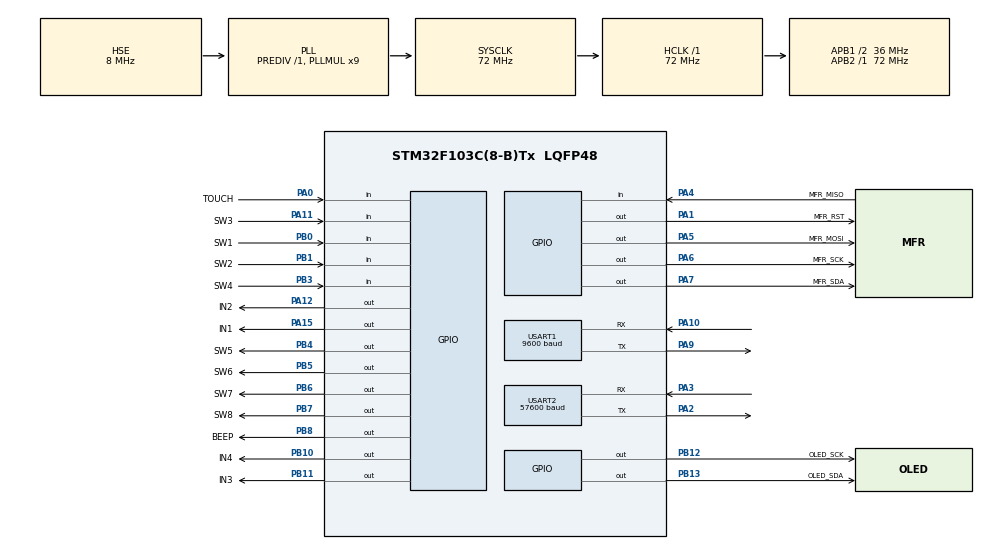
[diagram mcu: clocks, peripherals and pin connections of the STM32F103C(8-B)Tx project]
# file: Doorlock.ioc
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Mcu.Family=STM32F1
Mcu.Name=STM32F103C(8-B)Tx
Mcu.Package=LQFP48
NVIC.PriorityGroup=NVIC_PRIORITYGROUP_2
NVIC.TIM2_IRQn=true\:2\:2\:true\:false\:true\:true\:true\:true
NVIC.USART1_IRQn=true\:2\:2\:true\:false\:true\:true\:true\:true
NVIC.USART2_IRQn=true\:2\:2\:true\:false\:true\:true\:true\:true
PA0-WKUP.GPIO_Label=TOUCH
PA0-WKUP.GPIO_Mode=GPIO_MODE_INPUT
PA0-WKUP.GPIO_PuPd=GPIO_PULLDOWN
PA0-WKUP.Signal=GPIO_Input
PA1.GPIO_Label=MFR_RST
PA1.GPIO_ModeDefaultOutputPP=GPIO_MODE_OUTPUT_PP
PA1.GPIO_PuPd=GPIO_NOPULL
PA1.GPIO_Speed=GPIO_SPEED_FREQ_HIGH
PA1.PinState=GPIO_PIN_SET
PA1.Signal=GPIO_Output
PA10.Mode=Asynchronous
PA10.Signal=USART1_RX
PA11.GPIO_Label=SW3
PA11.GPIO_Mode=GPIO_MODE_INPUT
PA11.GPIO_PuPd=GPIO_PULLUP
PA11.Signal=GPIO_Input
PA12.GPIO_Label=IN2
PA12.GPIO_ModeDefaultOutputPP=GPIO_MODE_OUTPUT_PP
PA12.GPIO_PuPd=GPIO_PULLDOWN
PA12.GPIO_Speed=GPIO_SPEED_FREQ_HIGH
PA12.PinState=GPIO_PIN_RESET
PA12.Signal=GPIO_Output
PA13.Mode=Serial_Wire
PA13.Signal=SYS_JTMS-SWDIO
PA14.Mode=Serial_Wire
PA14.Signal=SYS_JTCK-SWCLK
PA15.GPIO_Label=IN1
PA15.GPIO_ModeDefaultOutputPP=GPIO_MODE_OUTPUT_PP
PA15.GPIO_PuPd=GPIO_PULLDOWN
PA15.GPIO_Speed=GPIO_SPEED_FREQ_HIGH
PA15.Signal=GPIO_Output
PA2.Mode=Asynchronous
PA2.Signal=USART2_TX
PA3.Mode=Asynchronous
PA3.Signal=USART2_RX
PA4.GPIO_Label=MFR_MISO
PA4.Signal=GPIO_Input
PA5.GPIO_Label=MFR_MOSI
PA5.GPIO_ModeDefaultOutputPP=GPIO_MODE_OUTPUT_PP
PA5.GPIO_Speed=GPIO_SPEED_FREQ_HIGH
PA5.PinState=GPIO_PIN_SET
PA5.Signal=GPIO_Output
PA6.GPIO_Label=MFR_SCK
PA6.GPIO_ModeDefaultOutputPP=GPIO_MODE_OUTPUT_PP
PA6.GPIO_Speed=GPIO_SPEED_FREQ_HIGH
PA6.PinState=GPIO_PIN_SET
PA6.Signal=GPIO_Output
PA7.GPIO_Label=MFR_SDA
PA7.GPIO_ModeDefaultOutputPP=GPIO_MODE_OUTPUT_PP
PA7.GPIO_Speed=GPIO_SPEED_FREQ_HIGH
PA7.PinState=GPIO_PIN_SET
PA7.Signal=GPIO_Output
PA9.Mode=Asynchronous
PA9.Signal=USART1_TX
PB0.GPIO_Label=SW1
PB0.GPIO_PuPd=GPIO_PULLUP
PB0.Signal=GPIO_Input
PB1.GPIO_Label=SW2
PB1.GPIO_PuPd=GPIO_PULLUP
PB1.Signal=GPIO_Input
PB10.GPIO_Label=IN4
PB10.GPIO_ModeDefaultOutputPP=GPIO_MODE_OUTPUT_PP
PB10.GPIO_PuPd=GPIO_PULLDOWN
PB10.GPIO_Speed=GPIO_SPEED_FREQ_HIGH
PB10.Signal=GPIO_Output
PB11.GPIO_Label=IN3
PB11.GPIO_ModeDefaultOutputPP=GPIO_MODE_OUTPUT_PP
PB11.GPIO_PuPd=GPIO_PULLDOWN
PB11.GPIO_Speed=GPIO_SPEED_FREQ_HIGH
PB11.Signal=GPIO_Output
PB12.GPIO_Label=OLED_SCK
PB12.GPIO_ModeDefaultOutputPP=GPIO_MODE_OUTPUT_OD
PB12.GPIO_PuPd=GPIO_PULLUP
PB12.GPIO_Speed=GPIO_SPEED_FREQ_HIGH
PB12.PinState=GPIO_PIN_SET
PB12.Signal=GPIO_Output
PB13.GPIO_Label=OLED_SDA
PB13.GPIO_ModeDefaultOutputPP=GPIO_MODE_OUTPUT_OD
PB13.GPIO_PuPd=GPIO_PULLUP
PB13.GPIO_Speed=GPIO_SPEED_FREQ_HIGH
PB13.PinState=GPIO_PIN_SET
PB13.Signal=GPIO_Output
PB3.GPIO_Label=SW4
PB3.GPIO_PuPd=GPIO_PULLUP
PB3.Signal=GPIO_Input
PB4.GPIO_Label=SW5
PB4.GPIO_ModeDefaultOutputPP=GPIO_MODE_OUTPUT_PP
PB4.GPIO_PuPd=GPIO_NOPULL
PB4.GPIO_Speed=GPIO_SPEED_FREQ_HIGH
PB4.PinState=GPIO_PIN_SET
PB4.Signal=GPIO_Output
PB5.GPIO_Label=SW6
PB5.GPIO_ModeDefaultOutputPP=GPIO_MODE_OUTPUT_PP
PB5.GPIO_PuPd=GPIO_NOPULL
PB5.GPIO_Speed=GPIO_SPEED_FREQ_HIGH
PB5.PinState=GPIO_PIN_SET
PB5.Signal=GPIO_Output
PB6.GPIO_Label=SW7
PB6.GPIO_ModeDefaultOutputPP=GPIO_MODE_OUTPUT_PP
PB6.GPIO_Speed=GPIO_SPEED_FREQ_HIGH
PB6.PinState=GPIO_PIN_SET
PB6.Signal=GPIO_Output
PB7.GPIO_Label=SW8
PB7.GPIO_Speed=GPIO_SPEED_FREQ_HIGH
PB7.PinState=GPIO_PIN_SET
PB7.Signal=GPIO_Output
PB8.GPIO_Label=BEEP
PB8.GPIO_ModeDefaultOutputPP=GPIO_MODE_OUTPUT_PP
PB8.GPIO_PuPd=GPIO_NOPULL
PB8.GPIO_Speed=GPIO_SPEED_FREQ_HIGH
PB8.PinState=GPIO_PIN_SET
PB8.Signal=GPIO_Output
PC14-OSC32_IN.Mode=LSE-External-Oscillator
PC14-OSC32_IN.Signal=RCC_OSC32_IN
PC15-OSC32_OUT.Mode=LSE-External-Oscillator
PC15-OSC32_OUT.Signal=RCC_OSC32_OUT
PD0-OSC_IN.Mode=HSE-External-Oscillator
PD0-OSC_IN.Signal=RCC_OSC_IN
PD1-OSC_OUT.Mode=HSE-External-Oscillator
PD1-OSC_OUT.Signal=RCC_OSC_OUT
ProjectManager.HeapSize=0x200
ProjectManager.StackSize=0x400
ProjectManager.TargetToolchain=MDK-ARM V5.32
RCC.AHBFreq_Value=72000000
RCC.APB1CLKDivider=RCC_HCLK_DIV2
RCC.APB1Freq_Value=36000000
RCC.APB1TimFreq_Value=72000000
RCC.APB2Freq_Value=72000000
RCC.APB2TimFreq_Value=72000000
RCC.HCLKFreq_Value=72000000
RCC.PLLMUL=RCC_PLL_MUL9
RCC.PLLSourceVirtual=RCC_PLLSOURCE_HSE
RCC.SYSCLKFreq_VALUE=72000000
RCC.SYSCLKSource=RCC_SYSCLKSOURCE_PLLCLK
RCC.USBFreq_Value=72000000
TIM2.AutoReloadPreload=TIM_AUTORELOAD_PRELOAD_ENABLE
TIM2.Period=999
TIM2.Prescaler=71
USART1.BaudRate=9600
USART1.VirtualMode=VM_ASYNC
USART2.BaudRate=57600
USART2.VirtualMode=VM_ASYNC
VP_TIM2_VS_ClockSourceINT.Mode=Internal
board=custom

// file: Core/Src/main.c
/* USER CODE BEGIN Header */
/**
 ******************************************************************************
 * @file           : main.c
 * @brief          : Main program body
 ******************************************************************************
 * @attention
 *
 * Copyright (c) 2025 STMicroelectronics.
 * All rights reserved.
 *
 * This software is licensed under terms that can be found in the LICENSE file
 * in the root directory of this software component.
 * If no LICENSE file comes with this software, it is provided AS-IS.
 *
 ******************************************************************************
 */
/* USER CODE END Header */
#include "main.h"
#include "tim.h"
#include "usart.h"
#include "gpio.h"

/* USER CODE BEGIN Includes */
#include "OLED.h"
#include "Key.h"
#include "Motor.h"
#include "Menu.h"
#include "PasswordFlash.h"
#include "MFRC522.h"
#include "Delay.h"
#include "Flash.h"
#include "BUZZER.h"
#include "AS608.h"
#include "Security.h"
#include "WDT.h"
#include <string.h>
/* USER CODE END Includes */

void SystemClock_Config(void);

/* USER CODE BEGIN 0 */
uint8_t cardnumber;
uint8_t RxData[PASSWORD_LEN + 1];
volatile uint8_t bt_rx_buf[PASSWORD_LEN]; /* 蓝牙帧缓冲，最多4位数字 */
volatile uint8_t bt_rx_len;               /* 已收到数字个数 */
volatile uint32_t bt_last_tick;           /* 最近收到字节的时刻（超时判半帧） */
uint8_t bt_rx_byte;                       /* 蓝牙单字节接收单元 */
static uint8_t rfid_fail_pending = 0;     /* RFID 防重复计数闩锁 */
extern uint8_t LockFlag;
extern uint8_t Flag;
extern uint8_t deleteflag;
extern uint8_t deleteflag_f;
extern uint8_t usart2_rx_byte; // 用于 HAL_UART_Receive_IT 接收

extern uint8_t UID[4], Temp[4];
extern uint8_t UI0[4]; // 卡片0ID数组
extern uint8_t UI1[4]; // 卡片1ID数组
extern uint8_t UI2[4]; // 卡片2ID数组
extern uint8_t UI3[4]; // 卡片3ID数组

void RFID_Check(void); // 声明函数
void Read_Card(void);
uint8_t Check_Password_HC06(void);

/* USER CODE END 0 */

int main(void)
{

  /* MCU Configuration--------------------------------------------------------*/

  /* Reset of all peripherals, Initializes the Flash interface and the Systick. */
  HAL_Init();

  /* Configure the system clock */
  SystemClock_Config();

  /* Initialize all configured peripherals */
  MX_GPIO_Init();
  MX_TIM2_Init();
  MX_USART1_UART_Init();
  MX_USART2_UART_Init();
  /* USER CODE BEGIN 2 */
  DWT_Init(); // 初始化Delay
  OLED_Init();
  RFID_Init();
  PasswordFlash_Init();
  Security_Init();                                  /* 反暴力+自动回锁初始化 */
  WDT_Init();                                       /* 独立看门狗初始化 */
  HAL_UART_Receive_IT(&huart2, &usart2_rx_byte, 1); // 启动 USART2 单字节接收（保持原样）
  HAL_UART_Receive_IT(&huart1, &bt_rx_byte, 1);     /* 蓝牙：单字节持续接收，杜绝寄存器残留 */
  OLED_Clear();
  HAL_TIM_Base_Start_IT(&htim2);
  Menu_Show_UI(); // 入场动画

  uint8_t FirstFlag = 0;
  /* USER CODE END 2 */

  /* Infinite loop */
  /* USER CODE BEGIN WHILE */
  while (1)
  {
    WDT_Feed();        /* 看门狗喂狗 */
    Read_Card();       // 读取RFID卡号
    if (LockFlag == 0) // 门锁关闭状态
    {
      /* 蓝牙：凑满4位数字即一帧，半帧300ms无新字节作废 */
      if (bt_rx_len == PASSWORD_LEN)
      {
        for (uint8_t i = 0; i < PASSWORD_LEN; i++)
          RxData[i] = bt_rx_buf[i];
        RxData[PASSWORD_LEN] = '\0';
        bt_rx_len = 0;
        if (!Security_IsLocked() && Check_Password_HC06()) /* 反暴力:锁定期间忽略蓝牙 */
        {
          OLED_Clear();
          OLED_ShowString(28, 28, "解锁成功！", OLED_8X16);
          OLED_Update();
          Buzzer_Lock();
          Motor_DirectionAngle90(ccw);
          Flag = 1;
          LockFlag = 1;
          Security_OnAuthSuccess(CH_BT); /* 反暴力:成功清零+启动回锁 */
        }
        else if (!Security_IsLocked()) /* 反暴力:锁定期间忽略蓝牙 */
        {
          Security_OnAuthFail(CH_BT); /* 反暴力:失败计数 */
          OLED_Clear();
          OLED_ShowString(28, 28, "密码错误！", OLED_8X16);
          OLED_Update();
          Buzzer_OLED_long();
          HAL_Delay(600);
          OLED_Clear();
        }
      }
      else if (bt_rx_len && (HAL_GetTick() - bt_last_tick) > 300)
        bt_rx_len = 0; /* 半帧超时作废，防残留拼接 */
      // 指纹解锁
      if (!Security_IsLocked() && PS_ReadTouch() == 1) // 有手指触摸（反暴力:锁定期间忽略指纹）
      {
        uint16_t fingerID;
        if (AS608_IdentifyOnce(&fingerID, 3000) == 0) // 指纹识别
        {
          Security_OnAuthFail(CH_FP); /* 反暴力:失败计数 */
          OLED_Clear();
          OLED_ShowString(20, 28, "指纹未匹配!", OLED_8X16);
          OLED_Update();
          Buzzer_OLED_long();
          uint32_t t = HAL_GetTick(); /* 看门狗:死等改有界+喂狗 */
          while (PS_ReadTouch() && (HAL_GetTick() - t) < 5000)
          {
            WDT_Feed();
            HAL_Delay(50);
          }
        }
        else
        {
          OLED_Clear();
          OLED_ShowString(32, 28, "指纹ID:", OLED_8X16);
          OLED_ShowNum(88, 28, fingerID + 1, 1, OLED_8X16);
          OLED_Update();
          Buzzer_Lock();
          Motor_DirectionAngle90(ccw);
          Flag = 1;
          LockFlag = 1;
          Security_OnAuthSuccess(CH_FP); /* 反暴力:成功清零+启动回锁 */
        }
      }
      RFID_Check();
      Lock_Page();
    }
    else // 门锁开启状态
    {
      bt_rx_len = 0; /* 开锁态丢弃蓝牙残帧，防回锁后误触发 */
      if (AutoRelock_CheckAndExec())
        continue; /* 自动回锁:超时自动关锁回锁屏 */
      // S13=上一页，返回
      // S14=上一页
      // S15=删除
      // S16=确认
      OLED_Clear();
      Menu_UI();
      OLED_Update();

      FirstFlag = First_Page();
      if (FirstFlag == 1) // 修改密码
      {
        OldPassword_Page();
      }
      else if (FirstFlag == 2) // 录入新卡
      {
        Add_Card_Page();
      }
      else if (FirstFlag == 3) // 删除卡片
      {
        deleteflag = 1;
        Delete_Card_Page();
      }
      else if (FirstFlag == 4) // 关锁
      {
        Security_ClearRelock(); /* 手动关锁:取消自动回锁 */
        OLED_Clear();
        OLED_ShowString(20, 28, "正在关锁", OLED_8X16);
        OLED_ShowChar(84, 28, '.', OLED_8X16);
        OLED_ShowChar(92, 28, '.', OLED_8X16);
        OLED_ShowChar(100, 28, '.', OLED_8X16);
        OLED_Update();
        Motor_DirectionAngle90(cw);
        bt_rx_len = 0;          /* 丢弃菜单页期间蓝牙残留,防关锁后误触发 */
        LockFlag = 0;
      }
      else if (FirstFlag == 5) // 录入指纹
      {
        Add_Fingerprint_Page();
      }
      else if (FirstFlag == 6) // 删除指纹
      {
        deleteflag_f = 1;
        Delete_Fingerprint_Page();
      }
      else if (FirstFlag == 7) // 查看开锁日志
      {
        AuditLog_Page();
      }
    }
    /* USER CODE END WHILE */

  }
}

void SystemClock_Config(void)
{
  RCC_OscInitTypeDef RCC_OscInitStruct = {0};
  RCC_ClkInitTypeDef RCC_ClkInitStruct = {0};

  /** Initializes the RCC Oscillators according to the specified parameters
   * in the RCC_OscInitTypeDef structure.
   */
  RCC_OscInitStruct.OscillatorType = RCC_OSCILLATORTYPE_HSE;
  RCC_OscInitStruct.HSEState = RCC_HSE_ON;
  RCC_OscInitStruct.HSEPredivValue = RCC_HSE_PREDIV_DIV1;
  RCC_OscInitStruct.HSIState = RCC_HSI_ON;
  RCC_OscInitStruct.PLL.PLLState = RCC_PLL_ON;
  RCC_OscInitStruct.PLL.PLLSource = RCC_PLLSOURCE_HSE;
  RCC_OscInitStruct.PLL.PLLMUL = RCC_PLL_MUL9;
  if (HAL_RCC_OscConfig(&RCC_OscInitStruct) != HAL_OK)
  {
    Error_Handler();
  }

  /** Initializes the CPU, AHB and APB buses clocks
   */
  RCC_ClkInitStruct.ClockType = RCC_CLOCKTYPE_HCLK | RCC_CLOCKTYPE_SYSCLK | RCC_CLOCKTYPE_PCLK1 | RCC_CLOCKTYPE_PCLK2;
  RCC_ClkInitStruct.SYSCLKSource = RCC_SYSCLKSOURCE_PLLCLK;
  RCC_ClkInitStruct.AHBCLKDivider = RCC_SYSCLK_DIV1;
  RCC_ClkInitStruct.APB1CLKDivider = RCC_HCLK_DIV2;
  RCC_ClkInitStruct.APB2CLKDivider = RCC_HCLK_DIV1;

  if (HAL_RCC_ClockConfig(&RCC_ClkInitStruct, FLASH_LATENCY_2) != HAL_OK)
  {
    Error_Handler();
  }
}

/* USER CODE BEGIN 4 */

uint8_t Check_Password_HC06(void)
{
  char stored_pass[PASSWORD_LEN + 1];
  // 从Flash中读取密码，如果读取失败，则默认使用默认密码"1106"
  if (PasswordFlash_Read(stored_pass) != 1)
  {
    return strcmp((char *)RxData, Password_Default) == 0;
  }
  // 比较接收到的密码是否正确
  return strcmp((char *)RxData, stored_pass) == 0;
}

// RFID卡检测函数（反暴力:锁定期间忽略+防重复计数）
void RFID_Check(void)
{
  if (Security_IsLocked())
  {
    rfid_fail_pending = 0;
    return;
  } // 锁定期间忽略并清闩锁
  cardnumber = Rc522Test(); // 读取卡片ID
  if (cardnumber == 0)      // 有卡但未录入
  {
    if (!rfid_fail_pending)
    {
      rfid_fail_pending = 1;
      Security_OnAuthFail(CH_RFID);
    } // 卡压住不拿走只计一次失败
    OLED_Clear();
    OLED_ShowString(28, 28, "卡片错误！", OLED_8X16);
    OLED_Update();
    Buzzer_OLED_long();
    WaitCardOff_Timeout(5000); // 等待卡片移开
  }
  else if (cardnumber >= 1 && cardnumber <= 4) // 合法卡1-4
  {
    rfid_fail_pending = 0;
    Security_OnAuthSuccess(CH_RFID); /* 反暴力:成功清零+启动回锁 */
    OLED_Clear();
    OLED_ShowString(40, 28, "卡ID:", OLED_8X16);
    OLED_ShowNum(80, 28, cardnumber, 1, OLED_8X16);
    OLED_Update();
    LockFlag = 1;
    Flag = 1;
    Buzzer_Lock();
    Motor_DirectionAngle90(ccw);
    WaitCardOff_Timeout(5000); // 等待卡片移开
  }
  else if (cardnumber == 6)
  {
    rfid_fail_pending = 0;
  } // 无卡:清闩锁
}

// 从flash中读取各卡信息
void Read_Card()
{
  UI0[0] = FLASH_R(FLASH_ADDR1);
  UI0[1] = FLASH_R(FLASH_ADDR1 + 2);
  UI0[2] = FLASH_R(FLASH_ADDR1 + 4);
  UI0[3] = FLASH_R(FLASH_ADDR1 + 6);

  UI1[0] = FLASH_R(FLASH_ADDR2);
  UI1[1] = FLASH_R(FLASH_ADDR2 + 2);
  UI1[2] = FLASH_R(FLASH_ADDR2 + 4);
  UI1[3] = FLASH_R(FLASH_ADDR2 + 6);

  UI2[0] = FLASH_R(FLASH_ADDR3);
  UI2[1] = FLASH_R(FLASH_ADDR3 + 2);
  UI2[2] = FLASH_R(FLASH_ADDR3 + 4);
  UI2[3] = FLASH_R(FLASH_ADDR3 + 6);

  UI3[0] = FLASH_R(FLASH_ADDR4);
  UI3[1] = FLASH_R(FLASH_ADDR4 + 2);
  UI3[2] = FLASH_R(FLASH_ADDR4 + 4);
  UI3[3] = FLASH_R(FLASH_ADDR4 + 6);
}

void HAL_TIM_PeriodElapsedCallback(TIM_HandleTypeDef *htim)
{
  // TIM2中断回调函数
  if (htim->Instance == TIM2)
  {
    Key_Tick(); // 每20ms执行一次按键扫描
  }
}

void HAL_UART_RxCpltCallback(UART_HandleTypeDef *huart)
{
  if (huart->Instance == USART1)
  {
    if (bt_rx_len && bt_rx_len < PASSWORD_LEN && (HAL_GetTick() - bt_last_tick) > 300)
      bt_rx_len = 0; /* 阻塞期间半帧也按300ms作废，防残留续帧 */
    bt_last_tick = HAL_GetTick();
    if (bt_rx_len < PASSWORD_LEN && bt_rx_byte >= '0' && bt_rx_byte <= '9')
      bt_rx_buf[bt_rx_len++] = bt_rx_byte;        /* 只收数字，最多4位，其余丢弃 */
    HAL_UART_Receive_IT(&huart1, &bt_rx_byte, 1); /* 持续武装1字节，字节到即消费，无残留 */
  }
  if (huart->Instance == USART2)
  {
    AS608_RxPush(usart2_rx_byte);                     // 把字节推给 AS608 环形缓冲
    HAL_UART_Receive_IT(&huart2, &usart2_rx_byte, 1); // 重新启动下一次接收
  }
}
/* USER CODE END 4 */

void Error_Handler(void)
{
  __disable_irq();
  while (1)
  {
  }
}
